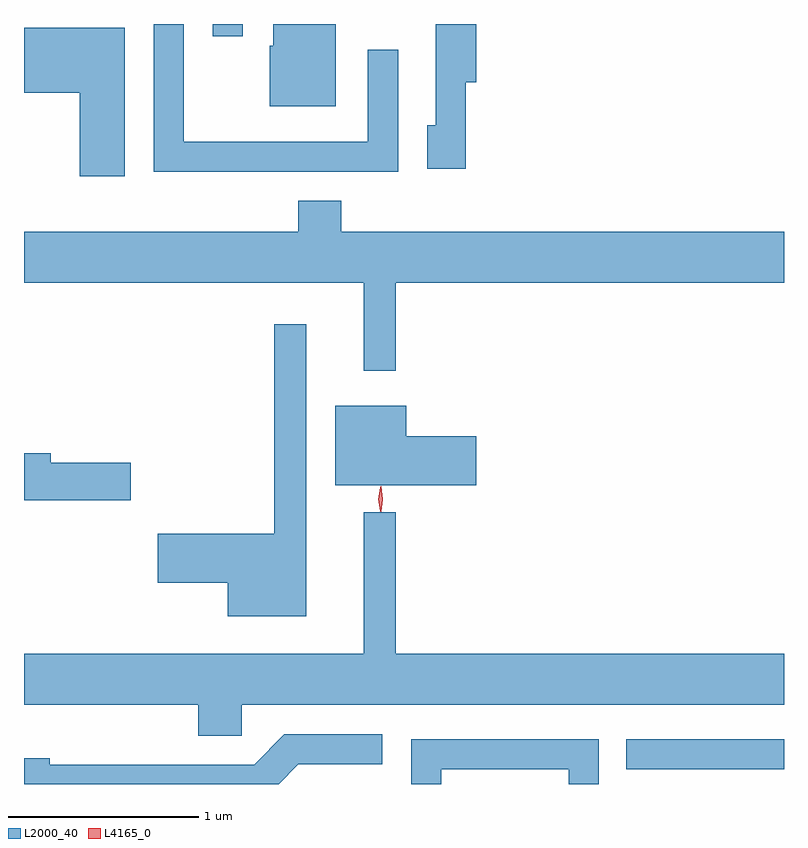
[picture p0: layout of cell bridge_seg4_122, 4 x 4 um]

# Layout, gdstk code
import gdstk
lib = gdstk.Library(unit=1e-6, precision=1e-09)
def R(c, l, rs):  # rectangles x0, y0, x1, y1
    for r in rs: c.add(gdstk.rectangle(r[:2], r[2:], *l))
def P(c, l, *ps):  # polygons
    for p in ps: c.add(gdstk.Polygon(p, *l))
L2000_40 = (2000, 40)
L4165_0 = (4165, 0)

bridge_seg4_122 = lib.new_cell('bridge_seg4_122')
R(bridge_seg4_122, L2000_40, [(807.913,1341.016,808.743,1341.174), (805.736,1344.873,805.894,1344.938)])
P(bridge_seg4_122, L2000_40, [(807.069,1344.631),(807.124,1344.631),(807.124,1344.938),(806.911,1344.938),(806.911,1344.404),(806.866,1344.404),(806.866,1344.176),(807.069,1344.176)],
  [(806.714,1344.803),(806.551,1344.803),(806.551,1344.319),(805.584,1344.319),(805.584,1344.938),(805.426,1344.938),(805.426,1344.161),(806.714,1344.161)],
  [(806.384,1344.938),(806.056,1344.938),(806.056,1344.824),(806.036,1344.824),(806.036,1344.506),(806.384,1344.506)],
  [(805.274,1344.919),(804.743,1344.919),(804.743,1344.576),(805.036,1344.576),(805.036,1344.136),(805.274,1344.136)],
  [(806.699,1343.576),(808.743,1343.576),(808.743,1343.844),(806.414,1343.844),(806.414,1344.009),(806.186,1344.009),(806.186,1343.844),(804.743,1343.844),(804.743,1343.576),(806.531,1343.576),(806.531,1343.113),(806.699,1343.113)],
  [(806.229,1343.358),(806.061,1343.358),(806.061,1342.254),(805.446,1342.254),(805.446,1341.996),(805.816,1341.996),(805.816,1341.821),(806.229,1341.821)],
  [(807.124,1342.769),(806.754,1342.769),(806.754,1342.929),(806.381,1342.929),(806.381,1342.511),(807.124,1342.511)],
  [(805.304,1342.629),(804.884,1342.629),(804.884,1342.679),(804.743,1342.679),(804.743,1342.431),(805.304,1342.431)],
  [(805.889,1341.356),(808.743,1341.356),(808.743,1341.624),(806.699,1341.624),(806.699,1342.368),(806.531,1342.368),(806.531,1341.624),(804.743,1341.624),(804.743,1341.356),(805.661,1341.356),(805.661,1341.191),(805.889,1341.191)],
  [(806.187,1341.041),(806.628,1341.041),(806.628,1341.199),(806.114,1341.199),(805.954,1341.039),(804.879,1341.039),(804.879,1341.074),(804.743,1341.074),(804.743,1340.938),(806.084,1340.938)],
  [(806.939,1341.016),(807.611,1341.016),(807.611,1340.938),(807.769,1340.938),(807.769,1341.174),(806.781,1341.174),(806.781,1340.938),(806.939,1340.938)])
P(bridge_seg4_122, L4165_0, [(806.618,1342.373),(806.618,1342.373),(806.608,1342.436),(806.618,1342.5),(806.618,1342.5),(806.619,1342.5),(806.628,1342.436),(806.619,1342.373)],
  [(806.621,1342.37),(806.621,1342.37),(806.611,1342.438),(806.621,1342.505),(806.621,1342.506),(806.622,1342.505),(806.631,1342.438),(806.622,1342.37)])

lib.write_gds('bridge_seg4_122.gds')
